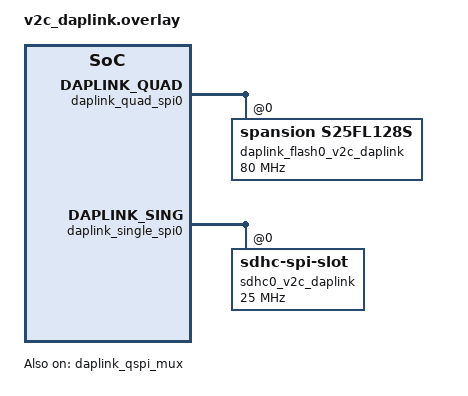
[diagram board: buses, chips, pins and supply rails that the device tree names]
/*
 * Copyright (c) 2020 Henrik Brix Andersen <henrik@brixandersen.dk>
 *
 * SPDX-License-Identifier: Apache-2.0
 */

&daplink_gpio0 {
	status = "okay";
};

&daplink_qspi_mux {
	status = "okay";
};

&flash0 {
	/*
	* Disable the on-board flash until the jedec,spi-nor driver supports
	* multiple instances.
	*/
	status = "disabled";
};

&daplink_quad_spi0 {
	status = "okay";

	daplink_flash0_v2c_daplink: flash@0 {
		compatible = "spansion,s25fl128s", "jedec,spi-nor";
		reg = <0>;
		spi-max-frequency = <80000000>;
		size = <DT_SIZE_M(128)>;
		jedec-id = [01 20 18];
	};
};

&daplink_single_spi0 {
	status = "okay";

	sdhc0_v2c_daplink: sdhc@0 {
		compatible = "zephyr,sdhc-spi-slot";
		reg = <0>;
		spi-max-frequency = <25000000>;
		mmc {
			compatible = "zephyr,sdmmc-disk";
			status = "okay";
		};
	};
};
